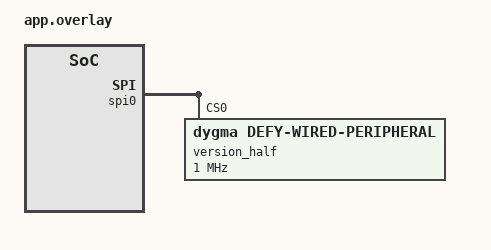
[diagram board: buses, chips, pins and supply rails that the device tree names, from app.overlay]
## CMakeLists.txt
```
# SPDX-License-Identifier: MIT

cmake_minimum_required(VERSION 3.20.0)
include(${CMAKE_CURRENT_SOURCE_DIR}/../common/defy_test.cmake)
# Longer than the 18 bytes the report carries; the module's CMakeLists.txt
# writes it into <dygma/defy_build_info.h>.
set(DEFY_BUILD_MODULE_VERSION v0.1.0-12-g2826cb2-dirty)
find_package(Zephyr REQUIRED HINTS $ENV{ZEPHYR_BASE})
project(defy_half_version_test)

target_sources(app PRIVATE src/main.c ${DEFY_ROOT}/battery/defy_half_version_protocol.c)
target_include_directories(app PRIVATE ${DEFY_ROOT}/tests/drivers/common)
```

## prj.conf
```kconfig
# SPDX-License-Identifier: MIT

CONFIG_ZTEST=y
CONFIG_ASSERT=y
CONFIG_CRC=y
```

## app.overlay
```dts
/* SPDX-License-Identifier: MIT */

/* The right half's cable node, which gives its side. */
&spi0 {
    version_half: wired@0 {
        compatible = "dygma,defy-wired-peripheral";
        reg = <0>;
        spi-max-frequency = <1000000>;
        half-id = <1>;
    };
};

/* The seal partition at 0x5000, as on the halves. */
&boot_partition {
    reg = <0x0 0x5000>;
};

&flash0 {
    partitions {
        factory_seal: partition@5000 {
            reg = <0x5000 0x1100>;
        };
    };
};
```

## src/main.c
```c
/*
 * The halves' version report outside the links: a half's own report from its
 * seal and build, and the Neuron's records with HALF VERSIONS's payload.
 *
 * SPDX-License-Identifier: MIT
 */

#include <errno.h>
#include <string.h>

#include <zephyr/kernel.h>
#include <zephyr/storage/flash_map.h>
#include <zephyr/sys/byteorder.h>
#include <zephyr/sys/crc.h>
#include <zephyr/ztest.h>

#include <dygma/defy_control.h>
#include <dygma/defy_half_package.h>
#include <dygma/defy_half_version.h>
#include <dygma/defy_wired_protocol.h>

#include "fake_uptime.h"

#include "../../../../battery/defy_half_versions.c"
#undef k_uptime_get
#include "../../../../battery/defy_half_version_local.c"

/* The seal partition, as flash_area_*() give it to the half. */
static const struct flash_area seal_area;
static uint8_t seal[DEFY_HALF_SEAL_SIZE];
static int open_error;
static int read_error;
static unsigned int opens;
static unsigned int closes;

int flash_area_open(uint8_t id, const struct flash_area **area) {
    zassert_equal(id, FIXED_PARTITION_ID(factory_seal));
    opens++;
    if (open_error) {
        return open_error;
    }
    *area = &seal_area;
    return 0;
}

int flash_area_read(const struct flash_area *area, off_t offset, void *dst, size_t length) {
    zassert_equal_ptr(area, &seal_area);
    zassert_equal(offset, 0);
    zassert_equal(length, DEFY_HALF_SEAL_SIZE);
    if (read_error) {
        return read_error;
    }
    memcpy(dst, seal, length);
    return 0;
}

void flash_area_close(const struct flash_area *area) {
    zassert_equal_ptr(area, &seal_area);
    closes++;
}

/* A valid seal for a program with this CRC32 and version. */
static void make_seal(uint32_t program_crc, uint32_t version) {
    sys_put_le32(1, seal);
    sys_put_le32(DEFY_HALF_SEAL_SIZE, seal + 4);
    sys_put_le32(0, seal + 8);
    sys_put_le32(DEFY_HALF_PROGRAM_START, seal + 12);
    sys_put_le32(0x24000, seal + 16);
    sys_put_le32(program_crc, seal + 20);
    sys_put_le32(version, seal + 24);
    sys_put_le32(crc32_ieee(seal, sizeof(seal)), seal + 8);
}

static const struct defy_half_version left = {
    .side = DEFY_WIRED_LEFT, .program_crc = 0x11111111, .seal_version = 1, .module = "v0.1.0",
};
static const struct defy_half_version right = {
    .side = DEFY_WIRED_RIGHT, .program_crc = 0x22222222, .seal_version = 2,
    .module = "v0.1.0-4-gabcdef0-",
};

static void reset(void *fixture) {
    ARG_UNUSED(fixture);
    memset(held, 0, sizeof(held));
    now = 0;
    make_seal(0xdeadbeef, 5);
    open_error = read_error = 0;
    opens = closes = 0;
}

static uint8_t payload[DEFY_HALF_VERSIONS_SIZE];

static void read_payload(void) {
    memset(payload, 0xa5, sizeof(payload));
    zassert_equal(defy_half_versions(payload, sizeof(payload)), DEFY_HALF_VERSIONS_SIZE);
    zassert_equal(payload[0], DEFY_HALF_VERSIONS_VERSION);
    zassert_equal(payload[1], 2);
    zassert_equal(sys_get_le16(payload + 2), DEFY_HALF_VERSIONS_RECORD);
    zassert_equal(sys_get_le32(payload + 4), (uint32_t)now);
}

static const uint8_t *entry(uint8_t side) {
    return payload + DEFY_HALF_VERSIONS_HEADER + side * DEFY_HALF_VERSIONS_RECORD;
}

/* The side's record in the payload: the link's bit, the age and the report. */
static void assert_entry(uint8_t side, uint8_t link_mask, uint32_t age,
                         const struct defy_half_version *version) {
    const uint8_t *record = entry(side);
    zassert_equal(record[0], side);
    zassert_equal(record[1], link_mask);
    zassert_equal(record[2], 0);
    zassert_equal(record[3], 0);
    zassert_equal(sys_get_le32(record + 4), age);
    uint8_t expected[DEFY_HALF_VERSION_SIZE] = {0};
    if (version) {
        defy_half_version_encode(version, expected);
    }
    zassert_mem_equal(record + 8, expected, sizeof(expected));
}

static void assert_none(uint8_t side) { assert_entry(side, 0, UINT32_MAX, NULL); }

ZTEST(defy_half_version, test_local_reports_seal_side_and_first_18_bytes_of_module) {
    struct defy_half_version version;
    memset(&version, 0xa5, sizeof(version));
    defy_half_version_local(&version);
    zassert_equal(version.side, DEFY_WIRED_RIGHT);
    zassert_equal(version.program_crc, 0xdeadbeef);
    zassert_equal(version.seal_version, 5);
    zassert_str_equal(version.module, "v0.1.0-12-g2826cb2");
    zassert_equal(opens, 1);
    zassert_equal(closes, 1);
}

ZTEST(defy_half_version, test_local_without_a_valid_seal_reports_zeros) {
    struct defy_half_version version;

    /* A seal that cannot be read, or whose partition does not open. */
    read_error = -EIO;
    defy_half_version_local(&version);
    zassert_equal(version.program_crc, 0);
    zassert_equal(version.seal_version, 0);
    zassert_equal(version.side, DEFY_WIRED_RIGHT);
    zassert_str_equal(version.module, "v0.1.0-12-g2826cb2");
    read_error = 0;
    open_error = -ENOENT;
    defy_half_version_local(&version);
    zassert_equal(version.program_crc, 0);
    zassert_equal(opens, 2);
    zassert_equal(closes, 1);
    open_error = 0;
    defy_half_version_local(&version);
    zassert_equal(version.program_crc, 0xdeadbeef);
}

ZTEST(defy_half_version, test_payload_without_records) {
    now = 1234;
    read_payload();
    assert_none(DEFY_WIRED_LEFT);
    assert_none(DEFY_WIRED_RIGHT);

    /* Too small an output is left alone. */
    memset(payload, 0x5a, sizeof(payload));
    zassert_equal(defy_half_versions(payload, sizeof(payload) - 1), 0);
    zassert_equal(defy_half_versions(NULL, sizeof(payload)), 0);
    for (size_t i = 0; i < sizeof(payload); i++) {
        zassert_equal(payload[i], 0x5a);
    }
    uint8_t larger[DEFY_HALF_VERSIONS_SIZE + 8];
    memset(larger, 0x5a, sizeof(larger));
    zassert_equal(defy_half_versions(larger, sizeof(larger)), DEFY_HALF_VERSIONS_SIZE);
    zassert_equal(larger[DEFY_HALF_VERSIONS_SIZE], 0x5a);
}

ZTEST(defy_half_version, test_records_report_link_age_and_report) {
    now = 1000;
    defy_half_version_received(DEFY_LINK_WIRED, 1, &left);
    now = 1200;
    defy_half_version_received(DEFY_LINK_BLE, 0, &right);
    now = 1500;
    read_payload();
    assert_entry(DEFY_WIRED_LEFT, BIT(DEFY_LINK_WIRED), 500, &left);
    assert_entry(DEFY_WIRED_RIGHT, BIT(DEFY_LINK_BLE), 300, &right);

    /* A newer report on the same link replaces the record and its age. */
    struct defy_half_version updated = left;
    updated.program_crc = 0x33333333;
    defy_half_version_received(DEFY_LINK_WIRED, 0, &updated);
    now = 1510;
    read_payload();
    assert_entry(DEFY_WIRED_LEFT, BIT(DEFY_LINK_WIRED), 10, &updated);
}

ZTEST(defy_half_version, test_newest_link_wins_and_the_other_holds_when_one_goes_down) {
    struct defy_half_version over_ble = left;
    over_ble.program_crc = 0x44444444;

    now = 100;
    defy_half_version_received(DEFY_LINK_WIRED, 0, &left);
    now = 200;
    defy_half_version_received(DEFY_LINK_BLE, 1, &over_ble);
    read_payload();
    assert_entry(DEFY_WIRED_LEFT, BIT(DEFY_LINK_BLE), 0, &over_ble);
    now = 300;
    defy_half_version_received(DEFY_LINK_WIRED, 0, &left);
    read_payload();
    assert_entry(DEFY_WIRED_LEFT, BIT(DEFY_LINK_WIRED), 0, &left);

    /* The cable goes down: the record over Bluetooth, which still holds. */
    now = 350;
    defy_half_version_wired_down(DEFY_WIRED_LEFT);
    read_payload();
    assert_entry(DEFY_WIRED_LEFT, BIT(DEFY_LINK_BLE), 150, &over_ble);
    assert_none(DEFY_WIRED_RIGHT);
    defy_half_version_ble_down(1);
    read_payload();
    assert_none(DEFY_WIRED_LEFT);

    /* Bluetooth goes down first: the cable's record. */
    defy_half_version_received(DEFY_LINK_WIRED, 0, &left);
    now = 360;
    defy_half_version_received(DEFY_LINK_BLE, 1, &over_ble);
    defy_half_version_ble_down(1);
    read_payload();
    assert_entry(DEFY_WIRED_LEFT, BIT(DEFY_LINK_WIRED), 10, &left);
}

ZTEST(defy_half_version, test_down_drops_only_its_link_and_side) {
    defy_half_version_received(DEFY_LINK_BLE, 0, &left);
    defy_half_version_received(DEFY_LINK_BLE, 1, &right);
    defy_half_version_received(DEFY_LINK_WIRED, 0, &right);

    /* A cable going down leaves Bluetooth's records alone, and the other side's. */
    defy_half_version_wired_down(DEFY_WIRED_LEFT);
    read_payload();
    assert_entry(DEFY_WIRED_LEFT, BIT(DEFY_LINK_BLE), 0, &left);
    defy_half_version_wired_down(DEFY_WIRED_RIGHT);
    read_payload();
    assert_entry(DEFY_WIRED_RIGHT, BIT(DEFY_LINK_BLE), 0, &right);

    /* A Bluetooth slot going down drops the record that came by it alone. */
    defy_half_version_ble_down(1);
    read_payload();
    assert_entry(DEFY_WIRED_LEFT, BIT(DEFY_LINK_BLE), 0, &left);
    assert_none(DEFY_WIRED_RIGHT);
    defy_half_version_ble_down(2);
    defy_half_version_ble_down(0);
    read_payload();
    assert_none(DEFY_WIRED_LEFT);

    /* A half that moved slots: the latest report names the slot. */
    defy_half_version_received(DEFY_LINK_BLE, 0, &left);
    defy_half_version_received(DEFY_LINK_BLE, 1, &left);
    defy_half_version_ble_down(0);
    read_payload();
    assert_entry(DEFY_WIRED_LEFT, BIT(DEFY_LINK_BLE), 0, &left);
    defy_half_version_ble_down(1);
    read_payload();
    assert_none(DEFY_WIRED_LEFT);
}

ZTEST(defy_half_version, test_invalid_reports_and_sides_are_ignored) {
    struct defy_half_version third = left;
    third.side = 2;

    defy_half_version_received(DEFY_LINK_BLE + 1, 0, &left);
    defy_half_version_received(DEFY_LINK_WIRED, 0, &third);
    defy_half_version_received(DEFY_LINK_WIRED, 0, NULL);
    defy_half_version_wired_down(2);
    read_payload();
    assert_none(DEFY_WIRED_LEFT);
    assert_none(DEFY_WIRED_RIGHT);
}

ZTEST(defy_half_version, test_age_stops_short_of_no_record) {
    defy_half_version_received(DEFY_LINK_WIRED, 0, &left);
    now = (int64_t)UINT32_MAX + 5;
    read_payload();
    assert_entry(DEFY_WIRED_LEFT, BIT(DEFY_LINK_WIRED), UINT32_MAX - 1, &left);
    now = (int64_t)UINT32_MAX - 1;
    read_payload();
    assert_entry(DEFY_WIRED_LEFT, BIT(DEFY_LINK_WIRED), UINT32_MAX - 1, &left);
    now = 7;
    read_payload();
    assert_entry(DEFY_WIRED_LEFT, BIT(DEFY_LINK_WIRED), 7, &left);
}

ZTEST_SUITE(defy_half_version, NULL, NULL, reset, NULL, NULL);
```
